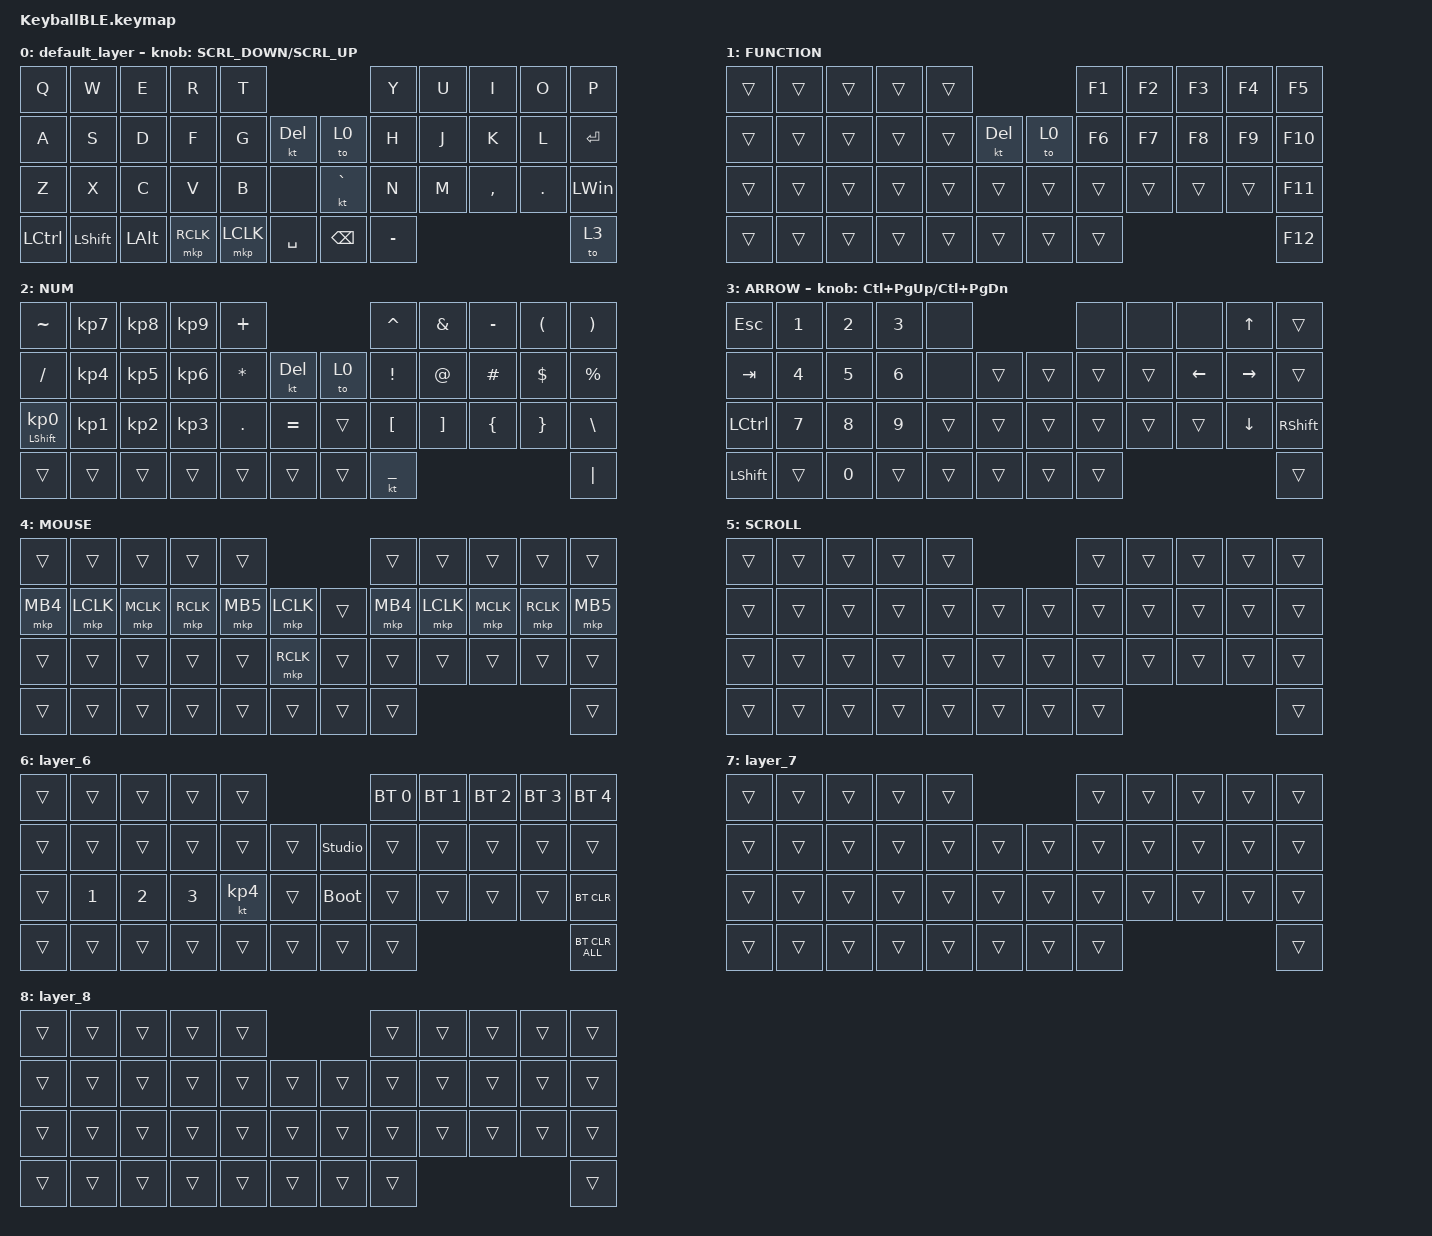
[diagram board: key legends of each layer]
#define ZMK_POINTING_DEFAULT_SCRL_VAL 120    // default: 10

#include <behaviors.dtsi>
#include <dt-bindings/zmk/bt.h>
#include <dt-bindings/zmk/keys.h>
#include <dt-bindings/zmk/pointing.h>

#define MOUSE 4
#define SCROLL 5
#define NUM 6

&mt {
    flavor = "balanced";
    quick-tap-ms = <0>;
};

/ {
    combos {
        compatible = "zmk,combos";

        double_quotation {
            bindings = <&kp DOUBLE_QUOTES>;
            key-positions = <20 21>;
        };
    };

    behaviors {
        ROTATE: ROTATE {
            compatible = "zmk,behavior-sensor-rotate-var";
            label = "ROTATE";
            #sensor-binding-cells = <2>;
            bindings = <&msc>, <&msc>;

            tap-ms = <20>;
        };
    };

    keymap {
        compatible = "zmk,keymap";

        default_layer {
            bindings = <
&kp Q      &kp W           &kp E         &kp R      &kp T                                    &kp Y      &kp U  &kp I      &kp O    &kp P
&kp A      &kp S           &kp D         &kp F      &kp G      &kt DEL        &to 0          &kp H      &kp J  &kp K      &kp L    &kp ENTER
&kp Z      &kp X           &kp C         &kp V      &kp B      &none          &kt GRAVE      &kp N      &kp M  &kp COMMA  &kp DOT  &kp LEFT_WIN
&kp LCTRL  &kp LEFT_SHIFT  &kp LEFT_ALT  &mkp RCLK  &mkp LCLK  &kp SPACE      &kp BACKSPACE  &kp MINUS                             &to 3
            >;

            sensor-bindings = <&ROTATE SCRL_DOWN SCRL_UP>;
        };

        FUNCTION {
            bindings = <
&trans  &trans  &trans  &trans  &trans                       &kp F1  &kp F2  &kp F3  &kp F4  &kp F5
&trans  &trans  &trans  &trans  &trans  &kt DEL      &to 0   &kp F6  &kp F7  &kp F8  &kp F9  &kp F10
&trans  &trans  &trans  &trans  &trans  &trans       &trans  &trans  &trans  &trans  &trans  &kp F11
&trans  &trans  &trans  &trans  &trans  &trans       &trans  &trans                          &kp F12
            >;
        };

        NUM {
            bindings = <
&kp TILDE                   &kp KP_NUMBER_7  &kp KP_NUMBER_8  &kp KP_NUMBER_9  &kp PLUS                             &kp CARET         &kp AMPERSAND      &kp MINUS       &kp LEFT_PARENTHESIS  &kp RIGHT_PARENTHESIS
&kp SLASH                   &kp KP_NUMBER_4  &kp KP_NUMBER_5  &kp KP_NUMBER_6  &kp ASTERISK  &kt DEL        &to 0   &kp EXCLAMATION   &kp AT_SIGN        &kp HASH        &kp DOLLAR            &kp PERCENT
&mt LEFT_SHIFT KP_NUMBER_0  &kp KP_NUMBER_1  &kp KP_NUMBER_2  &kp KP_NUMBER_3  &kp PERIOD    &kp EQUAL      &trans  &kp LEFT_BRACKET  &kp RIGHT_BRACKET  &kp LEFT_BRACE  &kp RIGHT_BRACE       &kp BACKSLASH
&trans                      &trans           &trans           &trans           &trans        &trans         &trans  &kt UNDER                                                                  &kp PIPE
            >;
        };

        ARROW {
            bindings = <
&kp ESCAPE        &kp NUMBER_1  &kp NUMBER_2  &kp NUMBER_3  &none                       &none   &none   &none           &kp UP_ARROW     &trans
&kp TAB           &kp NUMBER_4  &kp N5        &kp NUMBER_6  &none   &trans      &trans  &trans  &trans  &kp LEFT_ARROW  &kp RIGHT_ARROW  &trans
&kp LEFT_CONTROL  &kp N7        &kp N8        &kp N9        &trans  &trans      &trans  &trans  &trans  &trans          &kp DOWN_ARROW   &kp RSHFT
&kp LEFT_SHIFT    &trans        &kp N0        &trans        &trans  &trans      &trans  &trans                                           &trans
            >;

            sensor-bindings = <&inc_dec_kp LC(PAGE_UP) LC(PAGE_DOWN)>;
        };

        MOUSE {
            bindings = <
&trans    &trans     &trans     &trans     &trans                           &trans    &trans     &trans     &trans     &trans
&mkp MB4  &mkp LCLK  &mkp MCLK  &mkp RCLK  &mkp MB5  &mkp LCLK      &trans  &mkp MB4  &mkp LCLK  &mkp MCLK  &mkp RCLK  &mkp MB5
&trans    &trans     &trans     &trans     &trans    &mkp RCLK      &trans  &trans    &trans     &trans     &trans     &trans
&trans    &trans     &trans     &trans     &trans    &trans         &trans  &trans                                     &trans
            >;
        };

        SCROLL {
            bindings = <
&trans  &trans  &trans  &trans  &trans                      &trans  &trans  &trans  &trans  &trans
&trans  &trans  &trans  &trans  &trans  &trans      &trans  &trans  &trans  &trans  &trans  &trans
&trans  &trans  &trans  &trans  &trans  &trans      &trans  &trans  &trans  &trans  &trans  &trans
&trans  &trans  &trans  &trans  &trans  &trans      &trans  &trans                          &trans
            >;
        };

        layer_6 {
            bindings = <
&trans  &trans        &trans        &trans        &trans                                 &bt BT_SEL 0  &bt BT_SEL 1  &bt BT_SEL 2  &bt BT_SEL 3  &bt BT_SEL 4
&trans  &trans        &trans        &trans        &trans     &trans      &studio_unlock  &trans        &trans        &trans        &trans        &trans
&trans  &kp NUMBER_1  &kp NUMBER_2  &kp NUMBER_3  &kt KP_N4  &trans      &bootloader     &trans        &trans        &trans        &trans        &bt BT_CLR
&trans  &trans        &trans        &trans        &trans     &trans      &trans          &trans                                                  &bt BT_CLR_ALL
            >;
        };

        layer_7 {
            bindings = <
&trans  &trans  &trans  &trans  &trans                      &trans  &trans  &trans  &trans  &trans
&trans  &trans  &trans  &trans  &trans  &trans      &trans  &trans  &trans  &trans  &trans  &trans
&trans  &trans  &trans  &trans  &trans  &trans      &trans  &trans  &trans  &trans  &trans  &trans
&trans  &trans  &trans  &trans  &trans  &trans      &trans  &trans                          &trans
            >;
        };

        layer_8 {
            bindings = <
&trans  &trans  &trans  &trans  &trans                      &trans  &trans  &trans  &trans  &trans
&trans  &trans  &trans  &trans  &trans  &trans      &trans  &trans  &trans  &trans  &trans  &trans
&trans  &trans  &trans  &trans  &trans  &trans      &trans  &trans  &trans  &trans  &trans  &trans
&trans  &trans  &trans  &trans  &trans  &trans      &trans  &trans                          &trans
            >;
        };
    };
};
